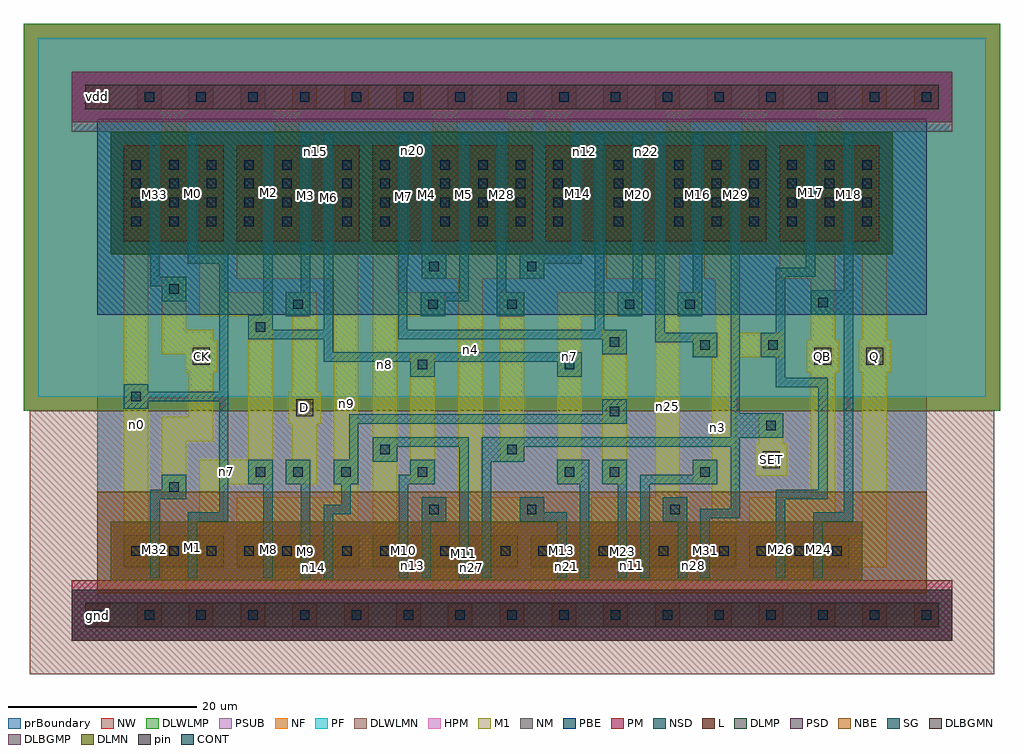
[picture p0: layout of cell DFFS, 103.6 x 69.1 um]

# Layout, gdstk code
import gdstk
lib = gdstk.Library(unit=1e-6, precision=1e-09)
def R(c, l, rs):  # rectangles x0, y0, x1, y1
    for r in rs: c.add(gdstk.rectangle(r[:2], r[2:], *l))
def A(c, l, x, y, w, h, nx, ny, dx, dy):  # array of equal rectangles
    R(c, l, [(x+i*dx, y+j*dy, x+i*dx+w, y+j*dy+h) for i in range(nx) for j in range(ny)])
def P(c, l, *ps):  # polygons
    for p in ps: c.add(gdstk.Polygon(p, *l))
L = (3, 0)
NM = (7, 0)
SG = (8, 0)
PSD = (9, 0)
CONT = (11, 0)
M1 = (13, 0)
NF = (25, 0)
PF = (26, 0)
NSD = (28, 0)
HPM = (33, 0)
PM = (35, 0)
NW = (36, 0)
pin = (48, 1)
PSUB = (140, 0)
PBE = (146, 0)
NBE = (147, 0)
DLWLMP = (150, 0)
DLWLMN = (151, 0)
DLMP = (157, 0)
DLMN = (158, 0)
DLBGMP = (177, 0)
DLBGMN = (178, 0)
prBoundary = (235, 0)

dffs = lib.new_cell('DFFS')
A(dffs, L, -1.3, -1.3, 2.6, 2.6, 17, 2, 5.5, 55)
R(dffs, L, [(2.8,5.1,13.4,8.5), (14.8,5.1,27.8,8.5), (29.2,5.1,44.6,8.5), (46,5.1,67.8,8.5), (69.2,5.1,79.8,8.5), (2.8,39.7,13.4,49.9), (14.8,39.7,27.8,49.9), (29.2,39.7,46.2,49.9), (47.6,39.7,71,49.9), (72.4,39.7,83,49.9)])
R(dffs, NM, [(-2.75,-2.7,90.75,2.7)])
P(dffs, NM, [(1.4,38.3),(1.4,51.3),(-2.75,51.3),(-2.75,57.7),(90.75,57.7),(90.75,51.3),(84.4,51.3),(84.4,38.3)])
P(dffs, SG, [(34.4,3.9),(34.4,12.5),(37,12.5),(37,9.9),(35.4,9.9),(35.4,3.9)],
  [(48.8,3.9),(48.8,9.9),(44.8,9.9),(44.8,12.5),(47.4,12.5),(47.4,10.9),(49.8,10.9),(49.8,3.9)],
  [(61.6,3.9),(61.6,9.9),(60,9.9),(60,12.5),(62.6,12.5),(62.6,3.9)],
  [(5.6,3.9),(5.6,13.3),(6.8,13.3),(6.8,14.9),(9.4,14.9),(9.4,12.3),(6.6,12.3),(6.6,3.9)],
  [(17.6,3.9),(17.6,13.9),(16,13.9),(16,16.5),(18.6,16.5),(18.6,3.9)],
  [(21.6,3.9),(21.6,13.9),(20,13.9),(20,16.5),(22.6,16.5),(22.6,3.9)],
  [(32,3.9),(32,14.9),(33.2,14.9),(33.2,16.5),(35.8,16.5),(35.8,13.9),(33,13.9),(33,3.9)],
  [(51.2,3.9),(51.2,13.9),(48.8,13.9),(48.8,16.5),(52.2,16.5),(52.2,3.9)],
  [(55.2,3.9),(55.2,13.9),(53.6,13.9),(53.6,16.5),(56.2,16.5),(56.2,3.9)],
  [(57.6,3.9),(57.6,14.9),(63.2,14.9),(63.2,16.5),(65.8,16.5),(65.8,13.9),(58.6,13.9),(58.6,3.9)],
  [(38.4,3.9),(38.4,17.9),(31.8,17.9),(31.8,16.3),(29.2,16.3),(29.2,18.9),(39.4,18.9),(39.4,3.9)],
  [(24,3.9),(24,11.7),(25.9,11.7),(25.9,13.9),(25.1,13.9),(25.1,16.5),(26.7,16.5),(26.7,21.3),(53.6,21.3),(53.6,22.9),(56.2,22.9),(56.2,20.3),(27.7,20.3),(27.7,13.9),(26.9,13.9),(26.9,10.7),(25,10.7),(25,3.9)],
  [(6.8,33.3),(6.8,34.9),(5.6,34.9),(5.6,51.1),(6.6,51.1),(6.6,35.9),(9.4,35.9),(9.4,33.3)],
  [(9.6,3.9),(9.6,10.9),(12.9,10.9),(12.9,22.7),(5.4,22.7),(5.4,21.9),(2.8,21.9),(2.8,24.5),(5.4,24.5),(5.4,23.7),(12.9,23.7),(12.9,37.3),(9.6,37.3),(9.6,51.1),(10.6,51.1),(10.6,38.3),(13.9,38.3),(13.9,9.9),(10.6,9.9),(10.6,3.9)],
  [(20,31.7),(20,34.3),(21.6,34.3),(21.6,51.1),(22.6,51.1),(22.6,31.7)],
  [(33.2,25.29),(33.2,26.9),(24,26.9),(24,29.3),(16,29.3),(16,31.9),(17.6,31.9),(17.6,51.1),(18.6,51.1),(18.6,30.3),(24,30.3),(24,51.1),(25,51.1),(25,27.9),(51.4,27.9),(51.4,25.29),(48.8,25.29),(48.8,26.9),(35.8,26.9),(35.8,25.29)],
  [(34.4,35.7),(34.4,51.1),(35.4,51.1),(35.4,38.3),(37,38.3),(37,35.7)],
  [(34.3,31.7),(34.3,34.3),(38.4,34.3),(38.4,51.1),(39.4,51.1),(39.4,33.3),(36.9,33.3),(36.9,31.7)],
  [(42.4,31.7),(42.4,51.1),(43.4,51.1),(43.4,34.3),(45.3,34.3),(45.3,31.7)],
  [(44.8,35.7),(44.8,38.3),(50.4,38.3),(50.4,51.1),(51.4,51.1),(51.4,37.3),(47.4,37.3),(47.4,35.7)],
  [(53.6,27.7),(53.6,29.3),(31.9,29.3),(31.9,38.1),(32,38.1),(32,51.1),(33,51.1),(33,37.1),(32.9,37.1),(32.9,30.3),(52.8,30.3),(52.8,51.1),(53.8,51.1),(53.8,30.3),(56.2,30.3),(56.2,27.7)],
  [(55.2,31.7),(55.2,34.3),(56.8,34.3),(56.8,51.1),(57.8,51.1),(57.8,31.7)],
  [(63.2,27.39),(63.2,28.99),(59.2,28.99),(59.2,51.1),(60.2,51.1),(60.2,29.99),(65.8,29.99),(65.8,27.39)],
  [(61.6,31.7),(61.6,34.3),(63.2,34.3),(63.2,51.1),(64.2,51.1),(64.2,31.7)],
  [(40.8,3.9),(40.8,18.9),(67.2,18.9),(67.2,51.1),(68.2,51.1),(68.2,21.45),(72.8,21.45),(72.8,18.85),(68.2,18.85),(68.2,10.3),(65,10.3),(65,3.9),(64,3.9),(64,11.3),(67.2,11.3),(67.2,17.9),(45.3,17.9),(45.3,16.3),(41.8,16.3),(41.8,3.9)],
  [(72,3.9),(72,13.3),(76.5,13.3),(76.5,24.2),(72,24.2),(72,27.39),(70.4,27.39),(70.4,29.99),(72,29.99),(72,36.9),(75.2,36.9),(75.2,51.1),(76.2,51.1),(76.2,35.9),(73,35.9),(73,25.2),(77.5,25.2),(77.5,12.3),(73,12.3),(73,3.9)],
  [(76,3.9),(76,10.9),(79.2,10.9),(79.2,31.9),(75.7,31.9),(75.7,34.5),(79.2,34.5),(79.2,51.1),(80.2,51.1),(80.2,9.9),(77,9.9),(77,3.9)])
R(dffs, PSD, [(1.4,3.7,81.2,9.9), (-2.75,52.3,90.75,57.7)])
A(dffs, CONT, -0.5, -0.5, 1, 1, 17, 2, 5.5, 55)
A(dffs, CONT, 7.6, 6.3, 1, 1, 4, 2, 4, 35)
A(dffs, CONT, 66, 6.3, 1, 1, 3, 1, 4, 0)
A(dffs, CONT, 3.6, 41.3, 1, 1, 1, 4, 0, 2)
A(dffs, CONT, 7.6, 41.3, 1, 1, 1, 4, 0, 2)
A(dffs, CONT, 19.6, 41.3, 1, 1, 1, 4, 0, 2)
A(dffs, CONT, 26, 41.3, 1, 1, 1, 4, 0, 2)
A(dffs, CONT, 30, 41.3, 1, 1, 1, 4, 0, 2)
A(dffs, CONT, 40.4, 41.3, 1, 1, 1, 4, 0, 2)
A(dffs, CONT, 40.4, 41.3, 1, 1, 3, 4, 4, 2)
A(dffs, CONT, 65.2, 41.3, 1, 1, 1, 4, 0, 2)
A(dffs, CONT, 65.2, 41.3, 1, 1, 4, 4, 4, 2)
A(dffs, CONT, 77.2, 41.3, 1, 1, 1, 4, 0, 2)
A(dffs, CONT, 81.2, 41.3, 1, 1, 1, 4, 0, 2)
A(dffs, CONT, 7.6, 43.3, 1, 1, 4, 3, 4, 2)
R(dffs, CONT, [(3.6,6.3,4.6,7.3), (7.6,6.3,8.6,7.3), (19.6,6.3,20.6,7.3), (26,6.3,27,7.3), (30,6.3,31,7.3), (36.4,6.3,37.4,7.3), (36.4,6.3,37.4,7.3), (42.8,6.3,43.8,7.3), (46.8,6.3,47.8,7.3), (53.2,6.3,54.2,7.3), (53.2,6.3,54.2,7.3), (59.6,6.3,60.6,7.3), (59.6,6.3,60.6,7.3), (74,6.3,75,7.3), (78,6.3,79,7.3), (35.2,10.7,36.2,11.7), (45.6,10.7,46.6,11.7), (60.8,10.7,61.8,11.7), (7.6,13.1,8.6,14.1), (16.8,14.7,17.8,15.7), (20.8,14.7,21.8,15.7), (25.9,14.7,26.9,15.7), (34,14.7,35,15.7), (49.6,14.7,50.6,15.7), (54.4,14.7,55.4,15.7), (64,14.7,65,15.7), (30,17.1,31,18.1), (43.5,17.1,44.5,18.1), (71,19.65,72,20.65), (54.4,21.1,55.4,22.1), (3.6,22.7,4.6,23.7), (34,26.09,35,27.09), (49.6,26.09,50.6,27.09), (64,28.19,65,29.19), (71.2,28.19,72.2,29.19), (54.4,28.5,55.4,29.5), (16.8,30.1,17.8,31.1), (20.8,32.5,21.8,33.5), (35.1,32.5,36.1,33.5), (43.5,32.5,44.5,33.5), (56,32.5,57,33.5), (62.4,32.5,63.4,33.5), (76.5,32.7,77.5,33.7), (7.6,34.1,8.6,35.1), (35.2,36.5,36.2,37.5), (45.6,36.5,46.6,37.5), (36.4,41.3,37.4,42.3), (36.4,41.3,37.4,42.3), (54.8,41.3,55.8,42.3), (54.8,41.3,55.8,42.3), (61.2,41.3,62.2,42.3), (61.2,41.3,62.2,42.3), (36.4,43.3,37.4,44.3), (36.4,43.3,37.4,44.3), (54.8,43.3,55.8,44.3), (54.8,43.3,55.8,44.3), (61.2,43.3,62.2,44.3), (61.2,43.3,62.2,44.3), (36.4,45.3,37.4,46.3), (36.4,45.3,37.4,46.3), (54.8,45.3,55.8,46.3), (54.8,45.3,55.8,46.3), (61.2,45.3,62.2,46.3), (61.2,45.3,62.2,46.3), (36.4,47.3,37.4,48.3), (36.4,47.3,37.4,48.3), (54.8,47.3,55.8,48.3), (54.8,47.3,55.8,48.3), (61.2,47.3,62.2,48.3), (61.2,47.3,62.2,48.3)])
R(dffs, M1, [(2.8,5.1,5.4,49.9), (33.2,13.9,35.8,27.89), (53.6,13.9,56.2,30.3), (42.7,16.3,45.3,34.3)])
P(dffs, M1, [(-1.3,-1.3),(-1.3,1.3),(6.8,1.3),(6.8,8.5),(9.4,8.5),(9.4,1.3),(18.8,1.3),(18.8,8.5),(21.4,8.5),(21.4,1.3),(35.6,1.3),(35.6,8.5),(38.2,8.5),(38.2,1.3),(46,1.3),(46,8.5),(48.6,8.5),(48.6,1.3),(58.8,1.3),(58.8,8.5),(61.4,8.5),(61.4,1.3),(73.2,1.3),(73.2,8.5),(75.8,8.5),(75.8,1.3),(89.3,1.3),(89.3,-1.3)],
  [(69.8,14.8),(69.8,18.2),(70.2,18.2),(70.2,21.45),(72.8,21.45),(72.8,18.2),(73.2,18.2),(73.2,14.8)],
  [(20,13.9),(20,16.5),(20.7,16.5),(20.7,20.3),(20.3,20.3),(20.3,23.7),(20.7,23.7),(20.7,31.7),(20,31.7),(20,34.3),(23.3,34.3),(23.3,23.7),(23.7,23.7),(23.7,20.3),(23.3,20.3),(23.3,13.9)],
  [(48.8,13.9),(48.8,34.3),(57.8,34.3),(57.8,31.7),(51.4,31.7),(51.4,13.9)],
  [(6.8,12.3),(6.8,21.05),(9.7,21.05),(9.7,25.8),(9.3,25.8),(9.3,27.7),(6.8,27.7),(6.8,35.9),(9.4,35.9),(9.4,30.3),(12.3,30.3),(12.3,29.2),(12.7,29.2),(12.7,25.8),(12.3,25.8),(12.3,18.45),(9.4,18.45),(9.4,12.3)],
  [(10.8,5.1),(10.8,16.5),(16,16.5),(16,31.7),(10.8,31.7),(10.8,49.9),(13.4,49.9),(13.4,34.3),(18.6,34.3),(18.6,13.9),(13.4,13.9),(13.4,5.1)],
  [(14.8,5.1),(14.8,12.5),(25.1,12.5),(25.1,35.7),(14.8,35.7),(14.8,49.9),(17.4,49.9),(17.4,38.3),(27.7,38.3),(27.7,9.9),(17.4,9.9),(17.4,5.1)],
  [(25.2,5.1),(25.2,8.5),(29.2,8.5),(29.2,39.7),(25.2,39.7),(25.2,49.9),(31.8,49.9),(31.8,34.3),(36.9,34.3),(36.9,31.7),(31.8,31.7),(31.8,5.1)],
  [(42,5.1),(42,9.9),(34.4,9.9),(34.4,12.5),(38.3,12.5),(38.3,35.7),(34.4,35.7),(34.4,38.3),(39.6,38.3),(39.6,49.9),(42.2,49.9),(42.2,38.3),(47.4,38.3),(47.4,35.7),(40.9,35.7),(40.9,12.5),(47.4,12.5),(47.4,9.9),(44.6,9.9),(44.6,5.1)],
  [(52.4,5.1),(52.4,12.5),(59.2,12.5),(59.2,35.7),(54,35.7),(54,49.9),(56.6,49.9),(56.6,38.3),(61.8,38.3),(61.8,34.3),(64.2,34.3),(64.2,31.7),(61.8,31.7),(61.8,12.5),(62.6,12.5),(62.6,9.9),(55,9.9),(55,5.1)],
  [(65.2,5.1),(65.2,13.9),(63.2,13.9),(63.2,16.5),(65.2,16.5),(65.2,27.39),(63.2,27.39),(63.2,29.99),(65.6,29.99),(65.6,35.7),(64.4,35.7),(64.4,49.9),(67,49.9),(67,38.3),(68.2,38.3),(68.2,29.99),(73,29.99),(73,27.39),(67.8,27.39),(67.8,5.1)],
  [(69.2,5.1),(69.2,12.5),(75.7,12.5),(75.7,25.8),(75.3,25.8),(75.3,29.2),(75.7,29.2),(75.7,35.7),(72.4,35.7),(72.4,49.9),(75,49.9),(75,38.3),(78.3,38.3),(78.3,29.2),(78.7,29.2),(78.7,25.8),(78.3,25.8),(78.3,9.9),(71.8,9.9),(71.8,5.1)],
  [(77.2,5.1),(77.2,8.5),(81.2,8.5),(81.2,25.8),(80.8,25.8),(80.8,29.2),(81.2,29.2),(81.2,39.7),(80.4,39.7),(80.4,49.9),(83,49.9),(83,42.3),(83.8,42.3),(83.8,29.2),(84.2,29.2),(84.2,25.8),(83.8,25.8),(83.8,5.1)],
  [(6.8,39.7),(6.8,53.7),(-1.3,53.7),(-1.3,56.3),(89.3,56.3),(89.3,53.7),(79,53.7),(79,39.7),(76.4,39.7),(76.4,53.7),(71,53.7),(71,39.7),(68.4,39.7),(68.4,53.7),(63,53.7),(63,39.7),(60.4,39.7),(60.4,53.7),(50.2,53.7),(50.2,39.7),(47.6,39.7),(47.6,53.7),(46.2,53.7),(46.2,39.7),(43.6,39.7),(43.6,53.7),(38.2,53.7),(38.2,39.7),(35.6,39.7),(35.6,53.7),(21.4,53.7),(21.4,39.7),(18.8,39.7),(18.8,53.7),(9.4,53.7),(9.4,39.7)])
R(dffs, NF, [(-6.3,23.2,94.3,61.3)])
R(dffs, PF, [(-6.3,23.2,94.3,61.3)])
R(dffs, NSD, [(-2.75,-2.7,90.75,2.7), (1.4,38.3,84.4,51.3)])
P(dffs, HPM, [(-2.75,-2.7),(-2.75,3.7),(1.4,3.7),(1.4,9.9),(81.2,9.9),(81.2,3.7),(90.75,3.7),(90.75,-2.7)],
  [(1.4,38.3),(1.4,51.3),(-2.75,51.3),(-2.75,57.7),(90.75,57.7),(90.75,51.3),(84.4,51.3),(84.4,38.3)])
R(dffs, PM, [(-2.75,52.3,90.75,57.7)])
P(dffs, PM, [(-2.75,-2.7),(-2.75,3.7),(1.4,3.7),(1.4,9.9),(81.2,9.9),(81.2,3.7),(90.75,3.7),(90.75,-2.7)])
R(dffs, NW, [(-7.8,21.7,95.8,62.8)])
R(dffs, pin, [(-1.3,-1.3,89.3,1.3), (70.6,15.6,72.4,17.4), (21.1,21.1,22.9,22.9), (10.1,26.6,11.9,28.4), (76.1,26.6,77.9,28.4), (81.6,26.6,83.4,28.4), (-1.3,53.7,89.3,56.3)])
R(dffs, PSUB, [(-6.3,23.2,94.3,61.3)])
R(dffs, PBE, [(0,31.9,88,52.7)])
R(dffs, NBE, [(0,2.3,88,13.1)])
R(dffs, DLWLMP, [(-7.8,21.7,95.8,62.8)])
R(dffs, DLWLMN, [(-7.2,-6.3,95.2,21.7)])
R(dffs, DLMP, [(1.4,38.3,84.4,51.3)])
R(dffs, DLMN, [(1.4,3.7,81.2,9.9)])
R(dffs, DLBGMP, [(-2.75,52.3,90.75,57.7)])
R(dffs, DLBGMN, [(-2.75,-2.7,90.75,2.7)])
R(dffs, prBoundary, [(0,0,88,55)])
dffs.add(gdstk.Label('n4', (39.6,28.18), layer=235, texttype=0))
dffs.add(gdstk.Label('n0', (4.1,20.23), layer=235, texttype=0))
dffs.add(gdstk.Label('n7', (13.67,15.2), layer=235, texttype=0))
dffs.add(gdstk.Label('n9', (26.4,22.44), layer=235, texttype=0))
dffs.add(gdstk.Label('n14', (22.94,5.1), layer=235, texttype=0))
dffs.add(gdstk.Label('n8', (30.48,26.56), layer=235, texttype=0))
dffs.add(gdstk.Label('n15', (23.1,49.21), layer=235, texttype=0))
dffs.add(gdstk.Label('n13', (33.41,5.22), layer=235, texttype=0))
dffs.add(gdstk.Label('n27', (39.74,5.1), layer=235, texttype=0))
dffs.add(gdstk.Label('n21', (49.8,5.2), layer=235, texttype=0))
dffs.add(gdstk.Label('n7', (50.1,27.42), layer=235, texttype=0))
dffs.add(gdstk.Label('n25', (60.5,22.18), layer=235, texttype=0))
dffs.add(gdstk.Label('n3', (65.79,19.9), layer=235, texttype=0))
dffs.add(gdstk.Label('n28', (63.24,5.28), layer=235, texttype=0))
dffs.add(gdstk.Label('n11', (56.71,5.28), layer=235, texttype=0))
dffs.add(gdstk.Label('n22', (58.27,49.24), layer=235, texttype=0))
dffs.add(gdstk.Label('n12', (51.7,49.19), layer=235, texttype=0))
dffs.add(gdstk.Label('n20', (33.4,49.28), layer=235, texttype=0))
dffs.add(gdstk.Label('M30', (41.3,6.53), layer=235, texttype=0))
dffs.add(gdstk.Label('M31', (64.5,6.81), layer=235, texttype=0))
dffs.add(gdstk.Label('M25', (51.7,6.25), layer=235, texttype=0))
dffs.add(gdstk.Label('M13', (49.3,6.895), layer=235, texttype=0))
dffs.add(gdstk.Label('M23', (55.7,6.795), layer=235, texttype=0))
dffs.add(gdstk.Label('M21', (58.1,7.01), layer=235, texttype=0))
dffs.add(gdstk.Label('M22', (62.1,6.84), layer=235, texttype=0))
dffs.add(gdstk.Label('M26', (72.5,6.945), layer=235, texttype=0))
dffs.add(gdstk.Label('M24', (76.5,6.955), layer=235, texttype=0))
dffs.add(gdstk.Label('M33', (6.1,44.69), layer=235, texttype=0))
dffs.add(gdstk.Label('M32', (6.1,6.99), layer=235, texttype=0))
dffs.add(gdstk.Label('M0', (10.1,44.755), layer=235, texttype=0))
dffs.add(gdstk.Label('M1', (10.1,7.155), layer=235, texttype=0))
dffs.add(gdstk.Label('M2', (18.1,44.9), layer=235, texttype=0))
dffs.add(gdstk.Label('M8', (18.1,6.99), layer=235, texttype=0))
dffs.add(gdstk.Label('M3', (22.1,44.595), layer=235, texttype=0))
dffs.add(gdstk.Label('M6', (24.5,44.335), layer=235, texttype=0))
dffs.add(gdstk.Label('M7', (32.5,44.49), layer=235, texttype=0))
dffs.add(gdstk.Label('M4', (34.9,44.64), layer=235, texttype=0))
dffs.add(gdstk.Label('M9', (22.1,6.73), layer=235, texttype=0))
dffs.add(gdstk.Label('M12', (24.5,6.805), layer=235, texttype=0))
dffs.add(gdstk.Label('M10', (32.5,6.835), layer=235, texttype=0))
dffs.add(gdstk.Label('M27', (34.9,6.81), layer=235, texttype=0))
dffs.add(gdstk.Label('M5', (38.9,44.7), layer=235, texttype=0))
dffs.add(gdstk.Label('M28', (42.9,44.7), layer=235, texttype=0))
dffs.add(gdstk.Label('M11', (38.9,6.595), layer=235, texttype=0))
dffs.add(gdstk.Label('M14', (50.9,44.745), layer=235, texttype=0))
dffs.add(gdstk.Label('M19', (53.3,45.455), layer=235, texttype=0))
dffs.add(gdstk.Label('M20', (57.3,44.63), layer=235, texttype=0))
dffs.add(gdstk.Label('M15', (59.7,45.61), layer=235, texttype=0))
dffs.add(gdstk.Label('M16', (63.7,44.7), layer=235, texttype=0))
dffs.add(gdstk.Label('M29', (67.695,44.695), layer=235, texttype=0))
dffs.add(gdstk.Label('M17', (75.7,44.855), layer=235, texttype=0))
dffs.add(gdstk.Label('M18', (79.7,44.635), layer=235, texttype=0))
dffs.add(gdstk.Label('SET', (71.5,16.5), layer=48, texttype=0))
dffs.add(gdstk.Label('D', (22,22), layer=48, texttype=0))
dffs.add(gdstk.Label('Q', (82.5,27.5), layer=48, texttype=0))
dffs.add(gdstk.Label('QB', (77,27.5), layer=48, texttype=0))
dffs.add(gdstk.Label('CK', (11,27.5), layer=48, texttype=0))
dffs.add(gdstk.Label('gnd', (0,0), layer=48, texttype=0))
dffs.add(gdstk.Label('vdd', (0,55), layer=48, texttype=0))

lib.write_gds('DFFS.gds')
